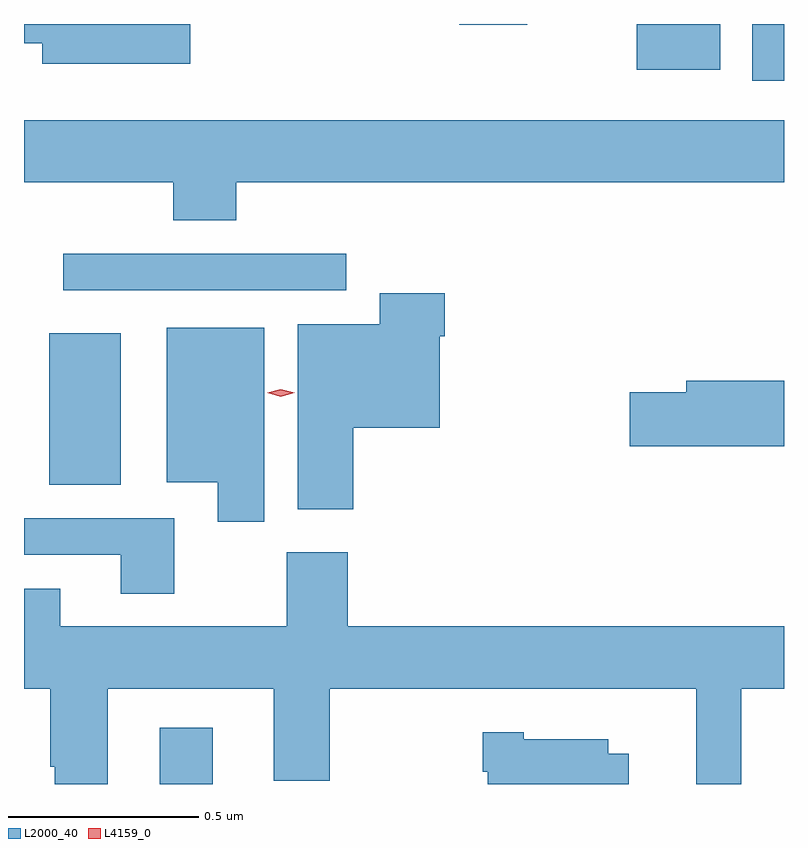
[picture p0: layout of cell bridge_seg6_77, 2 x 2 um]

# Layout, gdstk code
import gdstk
lib = gdstk.Library(unit=1e-6, precision=1e-09)
def R(c, l, rs):  # rectangles x0, y0, x1, y1
    for r in rs: c.add(gdstk.rectangle(r[:2], r[2:], *l))
def P(c, l, *ps):  # polygons
    for p in ps: c.add(gdstk.Polygon(p, *l))
L2000_40 = (2000, 40)
L4159_0 = (4159, 0)

bridge_seg6_77 = lib.new_cell('bridge_seg6_77')
R(bridge_seg6_77, L2000_40, [(826.769,937.761,826.909,937.909), (826.478,938.549,826.666,938.947), (826.515,939.06,827.26,939.156), (828.329,939.612,828.412,939.761), (828.025,939.641,828.244,939.761), (827.558,939.759,827.736,939.761)])
P(bridge_seg6_77, L2000_40, [(826.849,939.761),(826.412,939.761),(826.412,939.71),(826.46,939.71),(826.46,939.656),(826.849,939.656)],
  [(826.97,939.344),(828.412,939.344),(828.412,939.508),(826.412,939.508),(826.412,939.344),(826.805,939.344),(826.805,939.245),(826.97,939.245)],
  [(827.279,938.699),(827.506,938.699),(827.506,938.939),(827.519,938.939),(827.519,939.052),(827.348,939.052),(827.348,938.971),(827.132,938.971),(827.132,938.484),(827.279,938.484)],
  [(827.044,938.962),(826.787,938.962),(826.787,938.555),(826.922,938.555),(826.922,938.451),(827.044,938.451)],
  [(828.412,938.822),(828.155,938.822),(828.155,938.792),(828.006,938.792),(828.006,938.65),(828.412,938.65)],
  [(826.807,938.46),(826.412,938.46),(826.412,938.364),(826.667,938.364),(826.667,938.262),(826.807,938.262)],
  [(826.633,938.012),(827.069,938.012),(827.069,937.769),(827.217,937.769),(827.217,938.012),(828.181,938.012),(828.181,937.761),(828.299,937.761),(828.299,938.012),(828.412,938.012),(828.412,938.176),(827.264,938.176),(827.264,938.371),(827.104,938.371),(827.104,938.176),(826.507,938.176),(826.507,938.275),(826.412,938.275),(826.412,938.012),(826.481,938.012),(826.481,937.807),(826.493,937.807),(826.493,937.761),(826.633,937.761)],
  [(828.004,937.84),(827.95,937.84),(827.95,937.879),(827.727,937.879),(827.727,937.897),(827.619,937.897),(827.619,937.793),(827.633,937.793),(827.633,937.761),(828.004,937.761)])
P(bridge_seg6_77, L4159_0, [(827.088,938.78),(827.052,938.79),(827.052,938.79),(827.052,938.79),(827.088,938.8),(827.124,938.79),(827.125,938.79),(827.124,938.79)])

lib.write_gds('bridge_seg6_77.gds')
